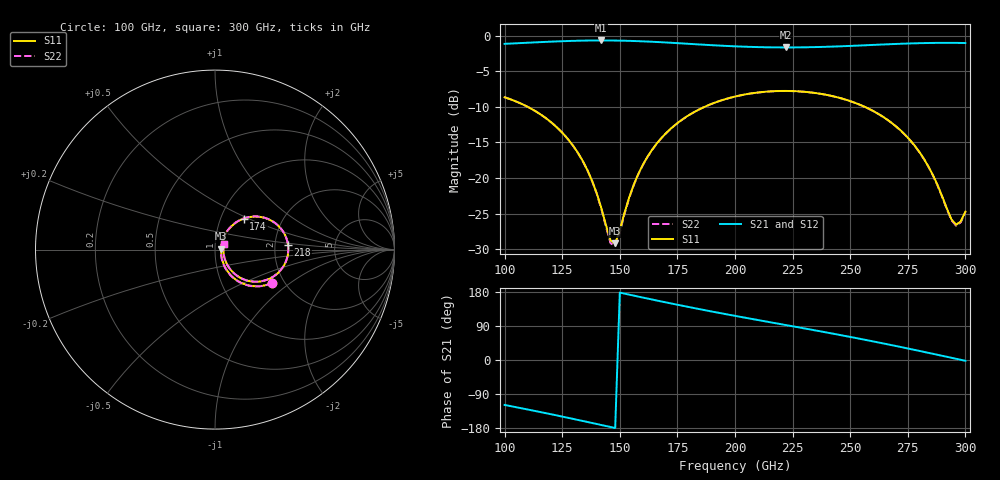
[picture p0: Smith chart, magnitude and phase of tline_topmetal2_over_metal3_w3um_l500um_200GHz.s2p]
#  GHZ S DB R 50
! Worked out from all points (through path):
!   101 points, 100 GHz to 300 GHz, reference 50 ohm
!   highest |S21| = -0.69 dB at 142 GHz (marker M1); lowest = -1.7 dB at 222 GHz (marker M2)
!   group delay of S21, straight-line fit = 3.33 ps
!   lowest |S11| = -29.1 dB at 148 GHz (marker M3), VSWR 1.07, Z = 53.6 + j0.546 ohm
!   |S11| at or under -10 dB: 110 GHz to 186.9 GHz (76.88 GHz wide, 51.8 % of centre); 256.3 GHz to end of sweep
!   |S22| runs from -29.6 to -7.8 dB; largest |S21 - S12| = 1e-13
!   S11 on the Smith chart (normalised r, x): 100 GHz: 1.74, -0.74; 174 GHz: 1.28, +0.47; 218 GHz: 2.36, +0.16; 300 GHz: 1.10, +0.07
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100  -8.66 -29.9  -1.16 -118.7  -1.16 -118.7  -8.67 -30.1
120  -12.12 -50.2  -0.86 -143.0  -0.86 -143.0  -12.13 -50.6
134  -17.66 -60.2  -0.71 -161.0  -0.71 -161.0  -17.68 -60.8
138  -20.40 -59.3  -0.70 -166.3  -0.70 -166.3  -20.45 -60.2
142  -24.24 -51.4  -0.69 -171.6  -0.69 -171.6  -24.36 -52.8
146  -28.77 -20.3  -0.70 -176.8  -0.70 -176.8  -29.15 -21.4
148  -29.14 8.4  -0.70 -179.5  -0.70 -179.5  -29.57 8.8
154  -22.79 51.5  -0.75 172.6  -0.75 172.6  -22.90 52.6
158  -19.44 55.9  -0.79 167.4  -0.79 167.4  -19.50 56.8
168  -14.41 52.2  -0.94 154.5  -0.94 154.5  -14.43 52.7
174  -12.55 47.2  -1.05 147.0  -1.05 147.0  -12.57 47.6
186  -10.12 35.7  -1.28 132.6  -1.28 132.6  -10.13 36.0
200  -8.56 21.8  -1.51 116.5  -1.51 116.5  -8.57 22.0
218  -7.80 3.9  -1.66 96.7  -1.66 96.7  -7.80 4.1
222  -7.78 0.0  -1.67 92.3  -1.67 92.3  -7.78 0.2
234  -8.03 -11.8  -1.63 79.1  -1.63 79.1  -8.04 -11.7
252  -9.43 -29.6  -1.43 58.5  -1.43 58.5  -9.44 -29.5
268  -12.26 -44.6  -1.20 39.2  -1.20 39.2  -12.28 -44.5
282  -17.31 -52.2  -1.06 21.4  -1.06 21.4  -17.34 -52.3
294  -25.82 -20.6  -1.03 5.8  -1.03 5.8  -25.95 -20.5
296  -26.57 -2.1  -1.03 3.1  -1.03 3.1  -26.71 -1.7
300  -24.71 31.8  -1.05 -2.1  -1.05 -2.1  -24.79 32.6
